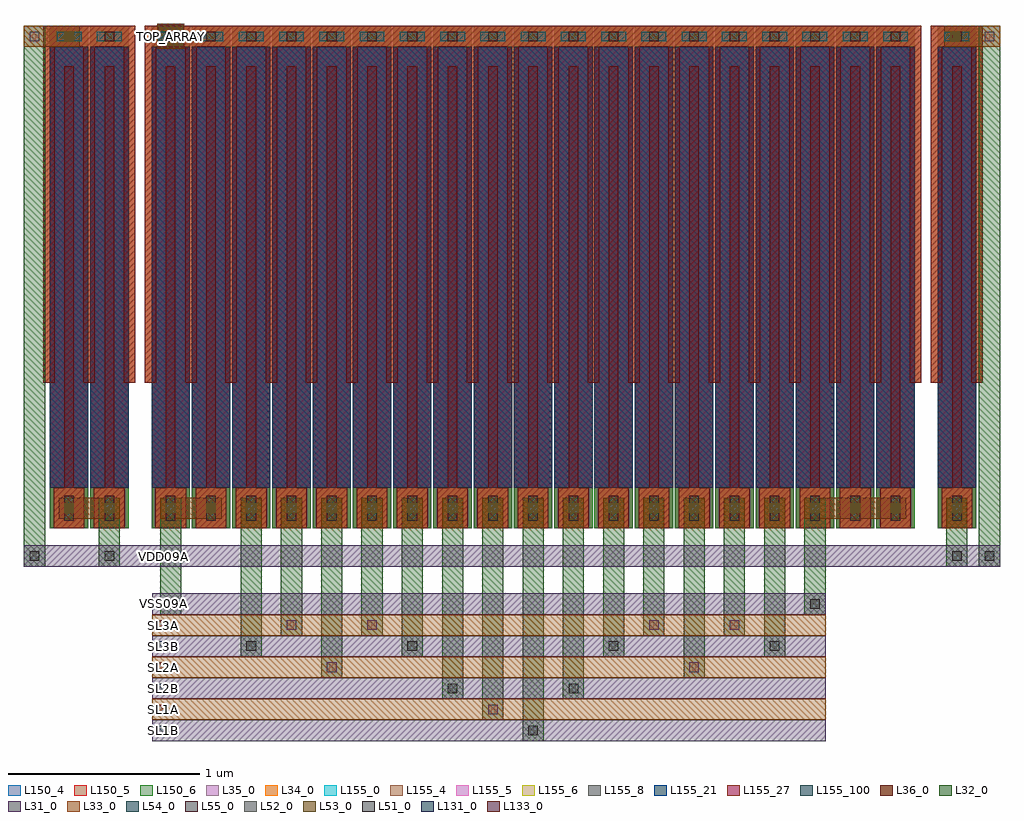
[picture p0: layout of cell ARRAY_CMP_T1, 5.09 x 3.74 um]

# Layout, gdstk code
from math import pi, radians
import gdstk
lib = gdstk.Library(unit=1e-6, precision=1e-09)
def R(c, l, rs):  # rectangles x0, y0, x1, y1
    for r in rs: c.add(gdstk.rectangle(r[:2], r[2:], *l))
def A(c, l, x, y, w, h, nx, ny, dx, dy):  # array of equal rectangles
    R(c, l, [(x+i*dx, y+j*dy, x+i*dx+w, y+j*dy+h) for i in range(nx) for j in range(ny)])
L31_0 = (31, 0)
L32_0 = (32, 0)
L33_0 = (33, 0)
L34_0 = (34, 0)
L35_0 = (35, 0)
L36_0 = (36, 0)
L51_0 = (51, 0)
L52_0 = (52, 0)
L53_0 = (53, 0)
L54_0 = (54, 0)
L55_0 = (55, 0)
L131_0 = (131, 0)
L133_0 = (133, 0)
L150_4 = (150, 4)
L150_5 = (150, 5)
L150_6 = (150, 6)
L155_0 = (155, 0)
L155_4 = (155, 4)
L155_5 = (155, 5)
L155_6 = (155, 6)
L155_8 = (155, 8)
L155_21 = (155, 21)
L155_27 = (155, 27)
L155_100 = (155, 100)

m5_m4_cdns_616577016296 = lib.new_cell('M5_M4_CDNS_616577016296')
R(m5_m4_cdns_616577016296, L34_0, [(-0.07,-0.105,0.07,0.105)])
R(m5_m4_cdns_616577016296, L35_0, [(-0.07,-0.105,0.07,0.105)])
R(m5_m4_cdns_616577016296, L54_0, [(-0.025,-0.065,0.025,0.065)])

m6_m5_cdns_616577016297 = lib.new_cell('M6_M5_CDNS_616577016297')
R(m6_m5_cdns_616577016297, L35_0, [(-0.07,-0.105,0.07,0.105)])
R(m6_m5_cdns_616577016297, L36_0, [(-0.055,-0.105,0.055,0.105)])
R(m6_m5_cdns_616577016297, L55_0, [(-0.025,-0.065,0.025,0.065)])

m5_m4_cdns_616577016298 = lib.new_cell('M5_M4_CDNS_616577016298')
R(m5_m4_cdns_616577016298, L34_0, [(-0.095,-0.055,0.095,0.055)])
R(m5_m4_cdns_616577016298, L35_0, [(-0.12,-0.055,0.12,0.055)])
R(m5_m4_cdns_616577016298, L54_0, [(-0.065,-0.025,0.065,0.025)])

m6_m5_cdns_616577016299 = lib.new_cell('M6_M5_CDNS_616577016299')
R(m6_m5_cdns_616577016299, L35_0, [(-0.055,-0.055,0.055,0.055)])
R(m6_m5_cdns_616577016299, L36_0, [(-0.055,-0.055,0.055,0.055)])
R(m6_m5_cdns_616577016299, L55_0, [(-0.025,-0.025,0.025,0.025)])

cu1f = lib.new_cell('CU1F')
R(cu1f, L34_0, [(0.02,0,0.18,0.21), (-0.035,2.51,0.235,2.62)])
R(cu1f, L35_0, [(0.02,0,0.18,0.21), (-0.035,2.51,0.235,2.62)])
R(cu1f, L36_0, [(0.02,0,0.18,0.21), (-0.035,2.51,0.235,2.62)])
R(cu1f, L150_4, [(0,0,0.2,2.62)])
R(cu1f, L150_5, [(0,0,0.2,2.62)])
R(cu1f, L150_6, [(0,0,0.2,2.62)])
R(cu1f, L155_0, [(0,0.21,0.2,2.51)])
R(cu1f, L155_4, [(0,0.21,0.2,2.51)])
R(cu1f, L155_5, [(0,0.21,0.2,2.51)])
R(cu1f, L155_6, [(0,0.21,0.2,2.51)])
R(cu1f, L155_8, [(0,0.21,0.2,2.51)])
R(cu1f, L155_21, [(0,0.21,0.2,2.51)])
R(cu1f, L155_27, [(0,0.21,0.2,2.51)])
R(cu1f, L155_100, [(0,0.21,0.2,2.51)])
cu1f.add(gdstk.FlexPath([(0.205,2.59),(0.205,0.76)], 0.06, ends=(0.03, 0), simple_path=True, layer=34, datatype=0))  # L34_0
cu1f.add(gdstk.FlexPath([(0.1,2.41),(0.1,0)], 0.05, ends="flush", simple_path=True, layer=34, datatype=0))  # L34_0
cu1f.add(gdstk.FlexPath([(-0.005,2.59),(-0.005,0.76)], 0.06, ends=(0.03, 0), simple_path=True, layer=34, datatype=0))  # L34_0
cu1f.add(gdstk.FlexPath([(0.205,0.76),(0.205,2.59)], 0.06, ends=(0, 0.03), simple_path=True, layer=35, datatype=0))  # L35_0
cu1f.add(gdstk.FlexPath([(0.1,2.41),(0.1,0)], 0.05, ends="flush", simple_path=True, layer=35, datatype=0))  # L35_0
cu1f.add(gdstk.FlexPath([(-0.005,0.76),(-0.005,2.59)], 0.06, ends=(0, 0.03), simple_path=True, layer=35, datatype=0))  # L35_0
cu1f.add(gdstk.FlexPath([(0.205,0.76),(0.205,2.59)], 0.06, ends=(0, 0.03), simple_path=True, layer=36, datatype=0))  # L36_0
cu1f.add(gdstk.FlexPath([(0.1,2.41),(0.1,0)], 0.05, ends="flush", simple_path=True, layer=36, datatype=0))  # L36_0
cu1f.add(gdstk.FlexPath([(-0.005,0.76),(-0.005,2.59)], 0.06, ends=(0, 0.03), simple_path=True, layer=36, datatype=0))  # L36_0
cu1f.add(gdstk.Reference(m5_m4_cdns_616577016296, (0.1,0.105), rotation=pi, x_reflection=True))
cu1f.add(gdstk.Reference(m6_m5_cdns_616577016297, (0.1,0.105), rotation=pi, x_reflection=True))
cu1f.add(gdstk.Reference(m5_m4_cdns_616577016298, (0.1,2.565)))
cu1f.add(gdstk.Reference(m6_m5_cdns_616577016299, (0.1,2.565)))

m2_m1_cdns_616577016290 = lib.new_cell('M2_M1_CDNS_616577016290')
R(m2_m1_cdns_616577016290, L31_0, [(-0.055,-0.055,0.055,0.055)])
R(m2_m1_cdns_616577016290, L32_0, [(-0.055,-0.055,0.055,0.055)])
R(m2_m1_cdns_616577016290, L51_0, [(-0.025,-0.025,0.025,0.025)])

m3_m2_cdns_616577016291 = lib.new_cell('M3_M2_CDNS_616577016291')
R(m3_m2_cdns_616577016291, L32_0, [(-0.055,-0.055,0.055,0.055)])
R(m3_m2_cdns_616577016291, L33_0, [(-0.055,-0.055,0.055,0.055)])
R(m3_m2_cdns_616577016291, L52_0, [(-0.025,-0.025,0.025,0.025)])

m4_m3_cdns_616577016292 = lib.new_cell('M4_M3_CDNS_616577016292')
R(m4_m3_cdns_616577016292, L33_0, [(-0.055,-0.055,0.055,0.055)])
R(m4_m3_cdns_616577016292, L34_0, [(-0.055,-0.055,0.055,0.055)])
R(m4_m3_cdns_616577016292, L53_0, [(-0.025,-0.025,0.025,0.025)])

m4_m3_cdns_616577016293 = lib.new_cell('M4_M3_CDNS_616577016293')
R(m4_m3_cdns_616577016293, L33_0, [(-0.07,-0.065,0.07,0.065)])
R(m4_m3_cdns_616577016293, L34_0, [(-0.055,-0.055,0.055,0.055)])
R(m4_m3_cdns_616577016293, L53_0, [(-0.025,-0.025,0.025,0.025)])

m3_m2_cdns_616577016294 = lib.new_cell('M3_M2_CDNS_616577016294')
R(m3_m2_cdns_616577016294, L32_0, [(-0.065,-0.06,0.065,0.06)])
R(m3_m2_cdns_616577016294, L33_0, [(-0.07,-0.065,0.07,0.065)])
R(m3_m2_cdns_616577016294, L52_0, [(-0.025,-0.025,0.025,0.025)])

m2_m1_cdns_616577016295 = lib.new_cell('M2_M1_CDNS_616577016295')
R(m2_m1_cdns_616577016295, L31_0, [(-0.055,-0.055,0.055,0.055)])
R(m2_m1_cdns_616577016295, L32_0, [(-0.065,-0.06,0.065,0.06)])
R(m2_m1_cdns_616577016295, L51_0, [(-0.025,-0.025,0.025,0.025)])

array_cmp_t1 = lib.new_cell('ARRAY_CMP_T1')
A(array_cmp_t1, L31_0, 0.535, -1.11, 3.51, 0.11, 1, 4, 0, 0.22)
R(array_cmp_t1, L31_0, [(-0.135,-0.2,4.955,-0.09), (0.56,2.5,0.7,2.63)])
R(array_cmp_t1, L32_0, [(2.465,-1.11,2.575,0.16), (2.255,-1,2.365,0.16), (2.045,-0.89,2.155,0.16), (2.675,-0.89,2.785,0.16), (1.415,-0.78,1.525,0.16), (3.305,-0.78,3.415,0.16), (0.995,-0.67,1.105,0.16), (1.835,-0.67,1.945,0.16), (2.885,-0.67,2.995,0.16), (3.725,-0.67,3.835,0.16), (1.205,-0.56,1.315,0.16), (1.625,-0.56,1.735,0.16), (3.095,-0.56,3.205,0.16), (3.515,-0.56,3.625,0.16), (0.575,-0.45,0.685,0.16), (3.935,-0.45,4.045,0.16), (-0.135,-0.2,-0.025,2.62), (0.255,-0.2,0.365,0.16), (4.675,-0.2,4.785,0.16), (4.845,-0.2,4.955,2.62)])
A(array_cmp_t1, L33_0, 0.535, -1, 3.51, 0.11, 1, 3, 0, 0.22)
A(array_cmp_t1, L33_0, 0.995, 0, 0.11, 0.16, 14, 1, 0.21, 0)
R(array_cmp_t1, L33_0, [(4.675,0,4.785,0.16), (0.045,0.05,0.365,0.16), (0.575,0.05,0.895,0.16), (3.935,0.05,4.465,0.16), (-0.135,2.51,0.155,2.62), (4.665,2.51,4.955,2.62)])
A(array_cmp_t1, L131_0, 0.565, -1.08, 0.05, 0.05, 1, 4, 0, 0.22)
R(array_cmp_t1, L131_0, [(0.565,-0.17,0.615,-0.12), (0.605,2.54,0.655,2.59)])
A(array_cmp_t1, L133_0, 0.565, -0.97, 0.05, 0.05, 1, 3, 0, 0.22)
array_cmp_t1.add(gdstk.Reference(cu1f, (0,0)))
array_cmp_t1.add(gdstk.Reference(cu1f, (0.21,0)))
array_cmp_t1.add(gdstk.Reference(cu1f, (0.53,0)))
array_cmp_t1.add(gdstk.Reference(cu1f, (0.74,0)))
array_cmp_t1.add(gdstk.Reference(cu1f, (4.63,0)))
array_cmp_t1.add(gdstk.Reference(cu1f, (4.31,0)))
array_cmp_t1.add(gdstk.Reference(cu1f, (4.1,0)))
array_cmp_t1.add(gdstk.Reference(cu1f, (3.89,0)))
array_cmp_t1.add(gdstk.Reference(cu1f, (3.68,0)))
array_cmp_t1.add(gdstk.Reference(cu1f, (3.47,0)))
array_cmp_t1.add(gdstk.Reference(cu1f, (3.26,0)))
array_cmp_t1.add(gdstk.Reference(cu1f, (3.05,0)))
array_cmp_t1.add(gdstk.Reference(cu1f, (2.84,0)))
array_cmp_t1.add(gdstk.Reference(cu1f, (2.63,0)))
array_cmp_t1.add(gdstk.Reference(cu1f, (2.42,0)))
array_cmp_t1.add(gdstk.Reference(cu1f, (2.21,0)))
array_cmp_t1.add(gdstk.Reference(cu1f, (2,0)))
array_cmp_t1.add(gdstk.Reference(cu1f, (1.79,0)))
array_cmp_t1.add(gdstk.Reference(cu1f, (1.58,0)))
array_cmp_t1.add(gdstk.Reference(cu1f, (1.37,0)))
array_cmp_t1.add(gdstk.Reference(cu1f, (1.16,0)))
array_cmp_t1.add(gdstk.Reference(cu1f, (0.95,0)))
array_cmp_t1.add(gdstk.Reference(m2_m1_cdns_616577016290, (4.9,-0.145)))
array_cmp_t1.add(gdstk.Reference(m2_m1_cdns_616577016290, (-0.08,-0.145)))
array_cmp_t1.add(gdstk.Reference(m2_m1_cdns_616577016290, (3.78,-0.615)))
array_cmp_t1.add(gdstk.Reference(m2_m1_cdns_616577016290, (3.99,-0.395)))
array_cmp_t1.add(gdstk.Reference(m2_m1_cdns_616577016290, (4.73,-0.145)))
array_cmp_t1.add(gdstk.Reference(m2_m1_cdns_616577016290, (0.31,-0.145)))
array_cmp_t1.add(gdstk.Reference(m2_m1_cdns_616577016290, (2.52,-1.055)))
array_cmp_t1.add(gdstk.Reference(m2_m1_cdns_616577016290, (2.1,-0.835)))
array_cmp_t1.add(gdstk.Reference(m2_m1_cdns_616577016290, (2.73,-0.835)))
array_cmp_t1.add(gdstk.Reference(m2_m1_cdns_616577016290, (2.94,-0.615)))
array_cmp_t1.add(gdstk.Reference(m2_m1_cdns_616577016290, (1.05,-0.615)))
array_cmp_t1.add(gdstk.Reference(m2_m1_cdns_616577016290, (1.89,-0.615)))
array_cmp_t1.add(gdstk.Reference(m2_m1_cdns_616577016290, (0.63,-0.395)))
array_cmp_t1.add(gdstk.Reference(m3_m2_cdns_616577016291, (3.57,-0.505)))
array_cmp_t1.add(gdstk.Reference(m3_m2_cdns_616577016291, (4.9,2.565)))
array_cmp_t1.add(gdstk.Reference(m3_m2_cdns_616577016291, (-0.08,2.565)))
array_cmp_t1.add(gdstk.Reference(m3_m2_cdns_616577016291, (1.05,0.105)))
array_cmp_t1.add(gdstk.Reference(m3_m2_cdns_616577016291, (1.26,0.105)))
array_cmp_t1.add(gdstk.Reference(m3_m2_cdns_616577016291, (1.47,0.105)))
array_cmp_t1.add(gdstk.Reference(m3_m2_cdns_616577016291, (1.68,0.105)))
array_cmp_t1.add(gdstk.Reference(m3_m2_cdns_616577016291, (1.89,0.105)))
array_cmp_t1.add(gdstk.Reference(m3_m2_cdns_616577016291, (2.1,0.105)))
array_cmp_t1.add(gdstk.Reference(m3_m2_cdns_616577016291, (2.31,0.105)))
array_cmp_t1.add(gdstk.Reference(m3_m2_cdns_616577016291, (2.52,0.105)))
array_cmp_t1.add(gdstk.Reference(m3_m2_cdns_616577016291, (2.73,0.105)))
array_cmp_t1.add(gdstk.Reference(m3_m2_cdns_616577016291, (2.94,0.105)))
array_cmp_t1.add(gdstk.Reference(m3_m2_cdns_616577016291, (3.15,0.105)))
array_cmp_t1.add(gdstk.Reference(m3_m2_cdns_616577016291, (3.36,0.105)))
array_cmp_t1.add(gdstk.Reference(m3_m2_cdns_616577016291, (3.57,0.105)))
array_cmp_t1.add(gdstk.Reference(m3_m2_cdns_616577016291, (3.78,0.105)))
array_cmp_t1.add(gdstk.Reference(m3_m2_cdns_616577016291, (4.73,0.105)))
array_cmp_t1.add(gdstk.Reference(m3_m2_cdns_616577016291, (3.99,0.105)))
array_cmp_t1.add(gdstk.Reference(m3_m2_cdns_616577016291, (0.63,0.105)))
array_cmp_t1.add(gdstk.Reference(m3_m2_cdns_616577016291, (0.31,0.105)))
array_cmp_t1.add(gdstk.Reference(m3_m2_cdns_616577016291, (2.31,-0.945)))
array_cmp_t1.add(gdstk.Reference(m3_m2_cdns_616577016291, (3.15,-0.505)))
array_cmp_t1.add(gdstk.Reference(m3_m2_cdns_616577016291, (3.36,-0.725)))
array_cmp_t1.add(gdstk.Reference(m3_m2_cdns_616577016291, (1.47,-0.725)))
array_cmp_t1.add(gdstk.Reference(m3_m2_cdns_616577016291, (1.68,-0.505)))
array_cmp_t1.add(gdstk.Reference(m3_m2_cdns_616577016291, (1.26,-0.505)))
array_cmp_t1.add(gdstk.Reference(m4_m3_cdns_616577016292, (4.72,2.565), rotation=pi, x_reflection=True))
array_cmp_t1.add(gdstk.Reference(m4_m3_cdns_616577016292, (0.1,2.565)))
array_cmp_t1.add(gdstk.Reference(m4_m3_cdns_616577016292, (1.05,0.105)))
array_cmp_t1.add(gdstk.Reference(m4_m3_cdns_616577016292, (1.26,0.105)))
array_cmp_t1.add(gdstk.Reference(m4_m3_cdns_616577016292, (1.47,0.105)))
array_cmp_t1.add(gdstk.Reference(m4_m3_cdns_616577016292, (1.68,0.105)))
array_cmp_t1.add(gdstk.Reference(m4_m3_cdns_616577016292, (1.89,0.105)))
array_cmp_t1.add(gdstk.Reference(m4_m3_cdns_616577016292, (2.1,0.105)))
array_cmp_t1.add(gdstk.Reference(m4_m3_cdns_616577016292, (2.31,0.105)))
array_cmp_t1.add(gdstk.Reference(m4_m3_cdns_616577016292, (2.52,0.105)))
array_cmp_t1.add(gdstk.Reference(m4_m3_cdns_616577016292, (2.73,0.105)))
array_cmp_t1.add(gdstk.Reference(m4_m3_cdns_616577016292, (2.94,0.105)))
array_cmp_t1.add(gdstk.Reference(m4_m3_cdns_616577016292, (3.15,0.105)))
array_cmp_t1.add(gdstk.Reference(m4_m3_cdns_616577016292, (3.36,0.105)))
array_cmp_t1.add(gdstk.Reference(m4_m3_cdns_616577016292, (3.57,0.105)))
array_cmp_t1.add(gdstk.Reference(m4_m3_cdns_616577016292, (3.78,0.105)))
array_cmp_t1.add(gdstk.Reference(m4_m3_cdns_616577016292, (4.73,0.105)))
array_cmp_t1.add(gdstk.Reference(m4_m3_cdns_616577016292, (4.2,0.105)))
array_cmp_t1.add(gdstk.Reference(m4_m3_cdns_616577016292, (4.41,0.105)))
array_cmp_t1.add(gdstk.Reference(m4_m3_cdns_616577016292, (3.99,0.105)))
array_cmp_t1.add(gdstk.Reference(m4_m3_cdns_616577016292, (0.84,0.105)))
array_cmp_t1.add(gdstk.Reference(m4_m3_cdns_616577016292, (0.63,0.105)))
array_cmp_t1.add(gdstk.Reference(m4_m3_cdns_616577016292, (0.1,0.105)))
array_cmp_t1.add(gdstk.Reference(m4_m3_cdns_616577016292, (0.31,0.105)))
array_cmp_t1.add(gdstk.Reference(m4_m3_cdns_616577016293, (0.63,2.565)))
array_cmp_t1.add(gdstk.Reference(m3_m2_cdns_616577016294, (0.63,2.565)))
array_cmp_t1.add(gdstk.Reference(m2_m1_cdns_616577016295, (0.63,2.565)))
array_cmp_t1.add(gdstk.Label('SL3A', (0.59,-0.505), layer=133, texttype=0))
array_cmp_t1.add(gdstk.Label('SL1A', (0.59,-0.945), layer=133, texttype=0))
array_cmp_t1.add(gdstk.Label('SL2A', (0.59,-0.725), layer=133, texttype=0))
array_cmp_t1.add(gdstk.Label('VDD09A', (0.59,-0.145), layer=131, texttype=0))
array_cmp_t1.add(gdstk.Label('SL3B', (0.59,-0.615), layer=131, texttype=0))
array_cmp_t1.add(gdstk.Label('VSS09A', (0.59,-0.395), layer=131, texttype=0))
array_cmp_t1.add(gdstk.Label('SL1B', (0.59,-1.055), layer=131, texttype=0))
array_cmp_t1.add(gdstk.Label('SL2B', (0.59,-0.835), layer=131, texttype=0))
array_cmp_t1.add(gdstk.Label('TOP_ARRAY', (0.628,2.565), layer=131, texttype=0))

lib.write_gds('ARRAY_CMP_T1.gds')
